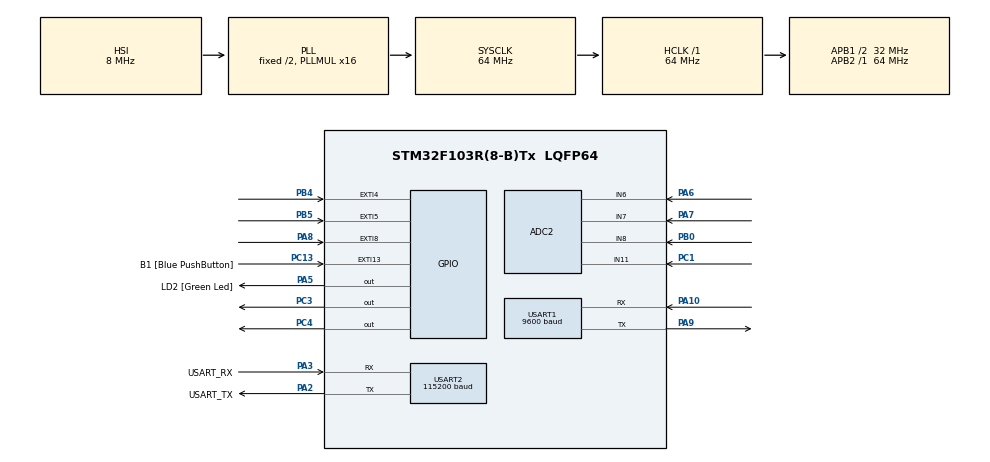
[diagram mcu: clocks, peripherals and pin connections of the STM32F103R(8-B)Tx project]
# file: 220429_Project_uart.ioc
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ADC2.Channel-1\#ChannelRegularConversion=ADC_CHANNEL_6
ADC2.Channel-2\#ChannelRegularConversion=ADC_CHANNEL_7
ADC2.Channel-3\#ChannelRegularConversion=ADC_CHANNEL_8
ADC2.Channel-4\#ChannelRegularConversion=ADC_CHANNEL_11
ADC2.DiscontinuousConvMode=ENABLE
ADC2.NbrOfConversion=4
ADC2.NbrOfConversionFlag=1
ADC2.Rank-1\#ChannelRegularConversion=1
ADC2.Rank-2\#ChannelRegularConversion=2
ADC2.Rank-3\#ChannelRegularConversion=3
ADC2.Rank-4\#ChannelRegularConversion=4
ADC2.SamplingTime-1\#ChannelRegularConversion=ADC_SAMPLETIME_239CYCLES_5
ADC2.SamplingTime-2\#ChannelRegularConversion=ADC_SAMPLETIME_239CYCLES_5
ADC2.SamplingTime-3\#ChannelRegularConversion=ADC_SAMPLETIME_239CYCLES_5
ADC2.SamplingTime-4\#ChannelRegularConversion=ADC_SAMPLETIME_239CYCLES_5
Dma.Request0=USART1_TX
Dma.USART1_TX.0.Direction=DMA_MEMORY_TO_PERIPH
Dma.USART1_TX.0.Instance=DMA1_Channel4
Dma.USART1_TX.0.MemDataAlignment=DMA_MDATAALIGN_WORD
Dma.USART1_TX.0.MemInc=DMA_MINC_ENABLE
Dma.USART1_TX.0.Mode=DMA_CIRCULAR
Dma.USART1_TX.0.PeriphDataAlignment=DMA_PDATAALIGN_WORD
Dma.USART1_TX.0.PeriphInc=DMA_PINC_DISABLE
Dma.USART1_TX.0.Priority=DMA_PRIORITY_LOW
Mcu.Family=STM32F1
Mcu.Name=STM32F103R(8-B)Tx
Mcu.Package=LQFP64
NVIC.DMA1_Channel4_IRQn=true\:0\:0\:false\:false\:true\:false\:true\:true
NVIC.EXTI15_10_IRQn=true\:0\:0\:false\:false\:true\:true\:true\:true
NVIC.EXTI4_IRQn=true\:0\:0\:false\:false\:true\:true\:true\:true
NVIC.EXTI9_5_IRQn=true\:0\:0\:false\:false\:true\:true\:true\:true
NVIC.PriorityGroup=NVIC_PRIORITYGROUP_4
NVIC.USART1_IRQn=true\:0\:0\:false\:false\:true\:true\:true\:true
NVIC.USART2_IRQn=true\:0\:0\:false\:false\:true\:true\:true\:true
PA10.Mode=Asynchronous
PA10.Signal=USART1_RX
PA13.GPIO_Label=TMS
PA13.Mode=Serial_Wire
PA13.Signal=SYS_JTMS-SWDIO
PA14.GPIO_Label=TCK
PA14.Mode=Serial_Wire
PA14.Signal=SYS_JTCK-SWCLK
PA2.GPIO_Label=USART_TX
PA2.GPIO_Mode=GPIO_MODE_AF_PP
PA2.GPIO_PuPd=GPIO_NOPULL
PA2.GPIO_Speed=GPIO_SPEED_FREQ_LOW
PA2.Mode=Asynchronous
PA2.Signal=USART2_TX
PA3.GPIO_Label=USART_RX
PA3.GPIO_Mode=GPIO_MODE_AF_PP
PA3.GPIO_PuPd=GPIO_NOPULL
PA3.GPIO_Speed=GPIO_SPEED_FREQ_LOW
PA3.Mode=Asynchronous
PA3.Signal=USART2_RX
PA5.GPIO_Label=LD2 [Green Led]
PA5.GPIO_ModeDefaultOutputPP=GPIO_MODE_OUTPUT_PP
PA5.GPIO_PuPd=GPIO_NOPULL
PA5.GPIO_Speed=GPIO_SPEED_FREQ_LOW
PA5.Signal=GPIO_Output
PA6.Signal=ADCx_IN6
PA7.Signal=ADCx_IN7
PA8.Signal=GPXTI8
PA9.Mode=Asynchronous
PA9.Signal=USART1_TX
PB0.Signal=ADCx_IN8
PB3.GPIO_Label=SWO
PB3.Signal=SYS_JTDO-TRACESWO
PB4.Signal=GPXTI4
PB5.Signal=GPXTI5
PC1.Signal=ADCx_IN11
PC13-TAMPER-RTC.GPIO_Label=B1 [Blue PushButton]
PC13-TAMPER-RTC.GPIO_PuPd=GPIO_NOPULL
PC13-TAMPER-RTC.Signal=GPXTI13
PC14-OSC32_IN.Mode=LSE-External-Oscillator
PC14-OSC32_IN.Signal=RCC_OSC32_IN
PC15-OSC32_OUT.Mode=LSE-External-Oscillator
PC15-OSC32_OUT.Signal=RCC_OSC32_OUT
PC3.Signal=GPIO_Output
PC4.Signal=GPIO_Output
PD0-OSC_IN.Mode=HSE-External-Clock-Source
PD0-OSC_IN.Signal=RCC_OSC_IN
PD1-OSC_OUT.Mode=HSE-External-Clock-Source
PD1-OSC_OUT.Signal=RCC_OSC_OUT
ProjectManager.HeapSize=0x200
ProjectManager.StackSize=0x400
ProjectManager.TargetToolchain=STM32CubeIDE
RCC.ADCPresc=RCC_ADCPCLK2_DIV8
RCC.AHBFreq_Value=64000000
RCC.APB1CLKDivider=RCC_HCLK_DIV2
RCC.APB1Freq_Value=32000000
RCC.APB1TimFreq_Value=64000000
RCC.APB2Freq_Value=64000000
RCC.APB2TimFreq_Value=64000000
RCC.HCLKFreq_Value=64000000
RCC.PLLMUL=RCC_PLL_MUL16
RCC.RTCClockSelection=RCC_RTCCLKSOURCE_LSE
RCC.SYSCLKFreq_VALUE=64000000
RCC.SYSCLKSource=RCC_SYSCLKSOURCE_PLLCLK
RCC.USBFreq_Value=64000000
SH.ADCx_IN11.0=ADC2_IN11,IN11
SH.ADCx_IN6.0=ADC2_IN6,IN6
SH.ADCx_IN7.0=ADC2_IN7,IN7
SH.ADCx_IN8.0=ADC2_IN8,IN8
USART1.BaudRate=9600
USART1.VirtualMode=VM_ASYNC
USART2.BaudRate=115200
USART2.VirtualMode=VM_ASYNC
board=NUCLEO-F103RB

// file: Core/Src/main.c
/* USER CODE BEGIN Header */
/**
  ******************************************************************************
  * @file           : main.c
  * @brief          : Main program body
  ******************************************************************************
  * @attention
  *
  * Copyright (c) 2022 STMicroelectronics.
  * All rights reserved.
  *
  * This software is licensed under terms that can be found in the LICENSE file
  * in the root directory of this software component.
  * If no LICENSE file comes with this software, it is provided AS-IS.
  *
  ******************************************************************************
  */
/* USER CODE END Header */
#include "main.h"

/* USER CODE BEGIN PTD */
#ifdef __GNUC__
/* With GCC, small printf (option LD Linker->Libraries->Small printf
   set to 'Yes') calls __io_putchar() */
#define PUTCHAR_PROTOTYPE int __io_putchar(int ch)
#else
#define PUTCHAR_PROTOTYPE int fputc(int ch, FILE *f)
#endif /* __GNUC__ */
/* USER CODE END PTD */

 ADC_HandleTypeDef hadc2;

UART_HandleTypeDef huart1;
UART_HandleTypeDef huart2;
DMA_HandleTypeDef hdma_usart1_tx;

void SystemClock_Config(void);
static void MX_GPIO_Init(void);
static void MX_USART2_UART_Init(void);
static void MX_DMA_Init(void);
static void MX_ADC2_Init(void);
static void MX_USART1_UART_Init(void);

/* USER CODE BEGIN 0 */
uint16_t state[4][2000] = {0};
uint16_t preVal1;
uint16_t preVal2;
uint16_t preVal3;
uint16_t preVal4;

int tx_val[5];
int idx = 0;

uint16_t compare = 0;

void getAdc(void){
	uint16_t adcResult1 = 0;
	uint16_t adcResult2 = 0;
	uint16_t adcResult3 = 0;
	uint16_t adcResult4 = 0;

	HAL_ADC_Start(&hadc2);
	HAL_ADC_PollForConversion(&hadc2, 100);
	int nowVal1 = HAL_ADC_GetValue(&hadc2)*180/78;
	if(nowVal1 >1800) nowVal1 = 1800;
	if(nowVal1 >=preVal1+ 20 ||nowVal1 <=preVal1- 20) 	preVal1 = nowVal1;
	adcResult1 = preVal1+600;

	HAL_ADC_Start(&hadc2);
	HAL_ADC_PollForConversion(&hadc2, 100);
	int nowVal2 = HAL_ADC_GetValue(&hadc2)*180/78;
	if(nowVal2 >1800) nowVal2 = 1800;
	if(nowVal2 >=preVal2+ 20 ||nowVal2 <=preVal2- 20)  	preVal2 = nowVal2;
	adcResult2 = preVal2+600;

	HAL_ADC_Start(&hadc2);
	HAL_ADC_PollForConversion(&hadc2, 100);
	int nowVal3 = HAL_ADC_GetValue(&hadc2)*180/78;
	if(nowVal3 >1800) nowVal3 = 1800;
	if(nowVal3 >=preVal3+ 20 ||nowVal3 <=preVal3- 20)  	preVal3 = nowVal3;
	adcResult3 = preVal3+600;

	HAL_ADC_Start(&hadc2);
	HAL_ADC_PollForConversion(&hadc2, 100);
	int nowVal4 = HAL_ADC_GetValue(&hadc2)*180/78;
	if(nowVal4 >1800) nowVal4 = 1800;
	if(nowVal4 >=preVal4+ 20 ||nowVal4 <=preVal4- 20)  	preVal4 = nowVal4;
	adcResult4 = preVal4+600;

	tx_val[0] = (3000-adcResult1)/10;
	tx_val[1] = (3000-adcResult2)/10;
	tx_val[2] = (3000-adcResult3)/10;
	tx_val[3] = adcResult4*1100/1800;

}
/* USER CODE END 0 */

int main(void)
{

  /* MCU Configuration--------------------------------------------------------*/

  /* Reset of all peripherals, Initializes the Flash interface and the Systick. */
  HAL_Init();

  /* Configure the system clock */
  SystemClock_Config();

  /* Initialize all configured peripherals */
  MX_GPIO_Init();
  MX_USART2_UART_Init();
  MX_DMA_Init();
  MX_ADC2_Init();
  MX_USART1_UART_Init();
  /* USER CODE BEGIN 2 */
  HAL_UART_Transmit_DMA(&huart1, tx_val, 5);

  /* USER CODE END 2 */

  /* Infinite loop */
  /* USER CODE BEGIN WHILE */
  while (1)
  {
	  tx_val[4] = compare;
	    	if(compare ==0){
	    		if(state[0][0] >0){
	    			for(int jdx= 0 ; jdx<4; jdx++){

	    				for(int kdx = 0; kdx<1000; kdx++){
	    					state[jdx][kdx] = -1;
	    				}
	    			}
	    			idx = 0;
	    		}
	    		getAdc();

	    		printf("angle1 : %d	angle2 : %d	angle3 : %d	angle4 : %d\n\r",tx_val[0],tx_val[1],tx_val[2],tx_val[3]);
	    	}

	    	else if(compare ==1){

	    		getAdc();

	    		printf("store....\n\r\n\r");

	    		state[0][idx]= tx_val[0];
	    		state[1][idx]= tx_val[1];
	    		state[2][idx]= tx_val[2];
	    		state[3][idx++]= tx_val[3];

	    		HAL_Delay(10);
	    	}

	    	else if(compare ==2){
	    		for(int jdx = 0; jdx< idx; jdx++){
	    			printf("replay....\n\r\n\r");
	    			tx_val[0] = state[0][jdx];
	    			tx_val[1] = state[1][jdx];
	    			tx_val[2] = state[2][jdx];
	    			tx_val[3] = state[3][jdx];

	    			HAL_Delay(10);
	    		}
	    	}
    /* USER CODE END WHILE */

  }
}

void SystemClock_Config(void)
{
  RCC_OscInitTypeDef RCC_OscInitStruct = {0};
  RCC_ClkInitTypeDef RCC_ClkInitStruct = {0};
  RCC_PeriphCLKInitTypeDef PeriphClkInit = {0};

  /** Initializes the RCC Oscillators according to the specified parameters
  * in the RCC_OscInitTypeDef structure.
  */
  RCC_OscInitStruct.OscillatorType = RCC_OSCILLATORTYPE_HSI;
  RCC_OscInitStruct.HSIState = RCC_HSI_ON;
  RCC_OscInitStruct.HSICalibrationValue = RCC_HSICALIBRATION_DEFAULT;
  RCC_OscInitStruct.PLL.PLLState = RCC_PLL_ON;
  RCC_OscInitStruct.PLL.PLLSource = RCC_PLLSOURCE_HSI_DIV2;
  RCC_OscInitStruct.PLL.PLLMUL = RCC_PLL_MUL16;
  if (HAL_RCC_OscConfig(&RCC_OscInitStruct) != HAL_OK)
  {
    Error_Handler();
  }

  /** Initializes the CPU, AHB and APB buses clocks
  */
  RCC_ClkInitStruct.ClockType = RCC_CLOCKTYPE_HCLK|RCC_CLOCKTYPE_SYSCLK
                              |RCC_CLOCKTYPE_PCLK1|RCC_CLOCKTYPE_PCLK2;
  RCC_ClkInitStruct.SYSCLKSource = RCC_SYSCLKSOURCE_PLLCLK;
  RCC_ClkInitStruct.AHBCLKDivider = RCC_SYSCLK_DIV1;
  RCC_ClkInitStruct.APB1CLKDivider = RCC_HCLK_DIV2;
  RCC_ClkInitStruct.APB2CLKDivider = RCC_HCLK_DIV1;

  if (HAL_RCC_ClockConfig(&RCC_ClkInitStruct, FLASH_LATENCY_2) != HAL_OK)
  {
    Error_Handler();
  }
  PeriphClkInit.PeriphClockSelection = RCC_PERIPHCLK_ADC;
  PeriphClkInit.AdcClockSelection = RCC_ADCPCLK2_DIV8;
  if (HAL_RCCEx_PeriphCLKConfig(&PeriphClkInit) != HAL_OK)
  {
    Error_Handler();
  }
}

static void MX_ADC2_Init(void)
{

  ADC_ChannelConfTypeDef sConfig = {0};

  /** Common config
  */
  hadc2.Instance = ADC2;
  hadc2.Init.ScanConvMode = ADC_SCAN_ENABLE;
  hadc2.Init.ContinuousConvMode = DISABLE;
  hadc2.Init.DiscontinuousConvMode = ENABLE;
  hadc2.Init.NbrOfDiscConversion = 1;
  hadc2.Init.ExternalTrigConv = ADC_SOFTWARE_START;
  hadc2.Init.DataAlign = ADC_DATAALIGN_RIGHT;
  hadc2.Init.NbrOfConversion = 4;
  if (HAL_ADC_Init(&hadc2) != HAL_OK)
  {
    Error_Handler();
  }

  /** Configure Regular Channel
  */
  sConfig.Channel = ADC_CHANNEL_6;
  sConfig.Rank = ADC_REGULAR_RANK_1;
  sConfig.SamplingTime = ADC_SAMPLETIME_239CYCLES_5;
  if (HAL_ADC_ConfigChannel(&hadc2, &sConfig) != HAL_OK)
  {
    Error_Handler();
  }

  /** Configure Regular Channel
  */
  sConfig.Channel = ADC_CHANNEL_7;
  sConfig.Rank = ADC_REGULAR_RANK_2;
  if (HAL_ADC_ConfigChannel(&hadc2, &sConfig) != HAL_OK)
  {
    Error_Handler();
  }

  /** Configure Regular Channel
  */
  sConfig.Channel = ADC_CHANNEL_8;
  sConfig.Rank = ADC_REGULAR_RANK_3;
  if (HAL_ADC_ConfigChannel(&hadc2, &sConfig) != HAL_OK)
  {
    Error_Handler();
  }

  /** Configure Regular Channel
  */
  sConfig.Channel = ADC_CHANNEL_11;
  sConfig.Rank = ADC_REGULAR_RANK_4;
  if (HAL_ADC_ConfigChannel(&hadc2, &sConfig) != HAL_OK)
  {
    Error_Handler();
  }

}

static void MX_USART1_UART_Init(void)
{

  huart1.Instance = USART1;
  huart1.Init.BaudRate = 9600;
  huart1.Init.WordLength = UART_WORDLENGTH_8B;
  huart1.Init.StopBits = UART_STOPBITS_1;
  huart1.Init.Parity = UART_PARITY_NONE;
  huart1.Init.Mode = UART_MODE_TX_RX;
  huart1.Init.HwFlowCtl = UART_HWCONTROL_NONE;
  huart1.Init.OverSampling = UART_OVERSAMPLING_16;
  if (HAL_UART_Init(&huart1) != HAL_OK)
  {
    Error_Handler();
  }

}

static void MX_USART2_UART_Init(void)
{

  huart2.Instance = USART2;
  huart2.Init.BaudRate = 115200;
  huart2.Init.WordLength = UART_WORDLENGTH_8B;
  huart2.Init.StopBits = UART_STOPBITS_1;
  huart2.Init.Parity = UART_PARITY_NONE;
  huart2.Init.Mode = UART_MODE_TX_RX;
  huart2.Init.HwFlowCtl = UART_HWCONTROL_NONE;
  huart2.Init.OverSampling = UART_OVERSAMPLING_16;
  if (HAL_UART_Init(&huart2) != HAL_OK)
  {
    Error_Handler();
  }

}

static void MX_DMA_Init(void)
{

  /* DMA controller clock enable */
  __HAL_RCC_DMA1_CLK_ENABLE();

  /* DMA interrupt init */
  /* DMA1_Channel4_IRQn interrupt configuration */
  HAL_NVIC_SetPriority(DMA1_Channel4_IRQn, 0, 0);
  HAL_NVIC_EnableIRQ(DMA1_Channel4_IRQn);

}

static void MX_GPIO_Init(void)
{
  GPIO_InitTypeDef GPIO_InitStruct = {0};

  /* GPIO Ports Clock Enable */
  __HAL_RCC_GPIOC_CLK_ENABLE();
  __HAL_RCC_GPIOD_CLK_ENABLE();
  __HAL_RCC_GPIOA_CLK_ENABLE();
  __HAL_RCC_GPIOB_CLK_ENABLE();

  /*Configure GPIO pin Output Level */
  HAL_GPIO_WritePin(GPIOC, GPIO_PIN_3|GPIO_PIN_4, GPIO_PIN_RESET);

  /*Configure GPIO pin Output Level */
  HAL_GPIO_WritePin(LD2_GPIO_Port, LD2_Pin, GPIO_PIN_RESET);

  /*Configure GPIO pin : B1_Pin */
  GPIO_InitStruct.Pin = B1_Pin;
  GPIO_InitStruct.Mode = GPIO_MODE_IT_RISING;
  GPIO_InitStruct.Pull = GPIO_NOPULL;
  HAL_GPIO_Init(B1_GPIO_Port, &GPIO_InitStruct);

  /*Configure GPIO pins : PC3 PC4 */
  GPIO_InitStruct.Pin = GPIO_PIN_3|GPIO_PIN_4;
  GPIO_InitStruct.Mode = GPIO_MODE_OUTPUT_PP;
  GPIO_InitStruct.Pull = GPIO_NOPULL;
  GPIO_InitStruct.Speed = GPIO_SPEED_FREQ_LOW;
  HAL_GPIO_Init(GPIOC, &GPIO_InitStruct);

  /*Configure GPIO pin : LD2_Pin */
  GPIO_InitStruct.Pin = LD2_Pin;
  GPIO_InitStruct.Mode = GPIO_MODE_OUTPUT_PP;
  GPIO_InitStruct.Pull = GPIO_NOPULL;
  GPIO_InitStruct.Speed = GPIO_SPEED_FREQ_LOW;
  HAL_GPIO_Init(LD2_GPIO_Port, &GPIO_InitStruct);

  /*Configure GPIO pin : PA8 */
  GPIO_InitStruct.Pin = GPIO_PIN_8;
  GPIO_InitStruct.Mode = GPIO_MODE_IT_RISING;
  GPIO_InitStruct.Pull = GPIO_NOPULL;
  HAL_GPIO_Init(GPIOA, &GPIO_InitStruct);

  /*Configure GPIO pins : PB4 PB5 */
  GPIO_InitStruct.Pin = GPIO_PIN_4|GPIO_PIN_5;
  GPIO_InitStruct.Mode = GPIO_MODE_IT_RISING;
  GPIO_InitStruct.Pull = GPIO_NOPULL;
  HAL_GPIO_Init(GPIOB, &GPIO_InitStruct);

  /* EXTI interrupt init*/
  HAL_NVIC_SetPriority(EXTI4_IRQn, 0, 0);
  HAL_NVIC_EnableIRQ(EXTI4_IRQn);

  HAL_NVIC_SetPriority(EXTI9_5_IRQn, 0, 0);
  HAL_NVIC_EnableIRQ(EXTI9_5_IRQn);

  HAL_NVIC_SetPriority(EXTI15_10_IRQn, 0, 0);
  HAL_NVIC_EnableIRQ(EXTI15_10_IRQn);

}

/* USER CODE BEGIN 4 */
PUTCHAR_PROTOTYPE
{
  /* Place your implementation of fputc here */
  /* e.g. write a character to the USART1 and Loop until the end of transmission */
  HAL_UART_Transmit(&huart2,(uint8_t *)&ch, 1, 0xFFFF);

  return ch;
}

void HAL_GPIO_EXTI_Callback(uint16_t GPIO_Pin){

	if(GPIO_Pin == GPIO_PIN_8){
		compare =0;
		HAL_GPIO_WritePin(GPIOC,GPIO_PIN_3,GPIO_PIN_SET);
		HAL_GPIO_WritePin(GPIOC,GPIO_PIN_4,GPIO_PIN_RESET);
		HAL_GPIO_WritePin(GPIOC,GPIO_PIN_5,GPIO_PIN_RESET);
	}
	if(GPIO_Pin == GPIO_PIN_4){
		compare = 1;
		HAL_GPIO_WritePin(GPIOC,GPIO_PIN_3,GPIO_PIN_RESET);
		HAL_GPIO_WritePin(GPIOC,GPIO_PIN_4,GPIO_PIN_SET);
		HAL_GPIO_WritePin(GPIOC,GPIO_PIN_5,GPIO_PIN_RESET);
	}
	if(GPIO_Pin == GPIO_PIN_5){
		compare = 2;
		HAL_GPIO_WritePin(GPIOC,GPIO_PIN_3,GPIO_PIN_RESET);
		HAL_GPIO_WritePin(GPIOC,GPIO_PIN_4,GPIO_PIN_RESET);
		HAL_GPIO_WritePin(GPIOC,GPIO_PIN_5,GPIO_PIN_SET);
	}
}
/* USER CODE END 4 */

void Error_Handler(void)
{
  __disable_irq();
  while (1)
  {
  }
}
